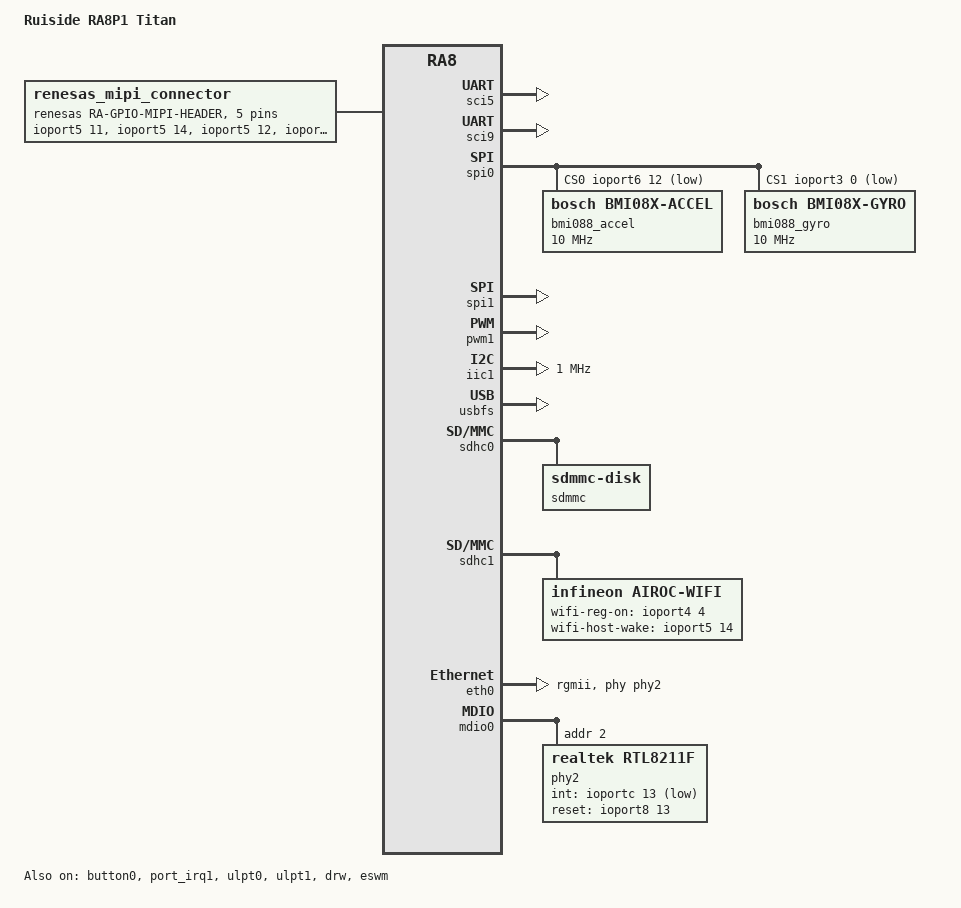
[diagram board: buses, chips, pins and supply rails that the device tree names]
/*
 * SPDX-FileCopyrightText: Copyright The Zephyr Project Contributors
 * SPDX-License-Identifier: Apache-2.0
 */

/dts-v1/;

#include <renesas/ra/ra8/r7ka8p1kflcac_cm85.dtsi>
#include <zephyr/dt-bindings/pwm/pwm.h>
#include "ra8p1_titan.dtsi"

/ {
	model = "Ruiside RA8P1 Titan";
	compatible = "ruiside,ra8p1-titan", "renesas,ra8p1", "renesas,ra8";

	chosen {
		zephyr,console = &uart5;
		zephyr,shell-uart = &uart5;
		zephyr,bt-hci = &bt_hci_uart;
		zephyr,sram = &sram0;
		zephyr,flash = &code_mram_cm85;
		zephyr,flash-controller = &mram_ctrl;
		zephyr,code-partition = &slot0_partition;
		zephyr,entropy = &trng;
	};

	aliases {
		led0 = &led1;
		sw0 = &button0;
		mipi-dsi = &mipi_dsi;
		sdhc0 = &sdhc0;
	};

	renesas_mipi_connector: mipi-connector {
		compatible = "renesas,ra-gpio-mipi-header";
		#gpio-cells = <2>;
		gpio-map-mask = <0xffffffff 0xffffffc0>;
		gpio-map-pass-thru = <0 0x3f>;
		gpio-map = <14 0 &ioport5 11 0>, /* IIC_SDA */
			   <15 0 &ioport5 14 0>, /* DISP_BLEN */
			   <16 0 &ioport5 12 0>, /* IIC_SCL */
			   <17 0 &ioport1 11 0>, /* DISP_INT */
			   <18 0 &ioport6 6 0>;  /* DISP_RST */
	};
};

&button0 {
	status = "okay";
};

&sci5 {
	pinctrl-0 = <&sci5_default>;
	pinctrl-names = "default";
	interrupts = <40 1>, <41 1>, <42 1>, <43 1>;
	interrupt-names = "rxi", "txi", "tei", "eri";
	status = "okay";

	uart5: uart {
		current-speed = <115200>;
		status = "okay";
	};
};

// &sci6 {
// 	pinctrl-0 = <&sci6_default>;
// 	pinctrl-names = "default";
// 	interrupts = <0 1>, <1 1>, <2 1>, <3 1>;
// 	interrupt-names = "rxi", "txi", "tei", "eri";
// 	status = "okay";

// 	uart6: uart {
// 		current-speed = <115200>;
// 		status = "okay";
// 	};
// };

&sci9 {
	pinctrl-0 = <&sci9_default>;
	pinctrl-names = "default";
	interrupts = <0 1>, <1 1>, <2 1>, <3 1>;
	interrupt-names = "rxi", "txi", "tei", "eri";
	status = "okay";

	uart9: uart {
		current-speed = <115200>;
		hw-flow-control;
		status = "okay";

		bt_hci_uart: bt_hci_uart {
		compatible = "zephyr,bt-hci-uart";
		status = "okay";

		murata-1dx {
			status = "okay";
			compatible = "infineon,bt-hci-uart";
			bt-reg-on-gpios = <&ioport6 0 GPIO_ACTIVE_HIGH>;
			bt-host-wake-gpios = <&ioport6 1 GPIO_ACTIVE_HIGH>;
			bt-dev-wake-gpios = <&ioport4 4 GPIO_ACTIVE_HIGH>;
			fw-download-speed = <115200>;
			hci-operation-speed = <115200>;
		};
	};
	};
};

&sci1 {
	pinctrl-0 = <&sci1_default>;
	pinctrl-names = "default";
	interrupts = <4 1>, <5 1>, <6 1>, <7 1>;
	interrupt-names = "rxi", "txi", "tei", "eri";

	i2c1: i2c {
		sda-output-delay = <300>;
		noise-filter-clock-select = <1>;
		bit-rate-modulation;
	};
};

&spi0 {
	pinctrl-0 = <&spi0_default>;
	pinctrl-names = "default";
	interrupts = <20 1>, <21 1>, <22 1>, <23 1>;
	interrupt-names = "rxi", "txi", "tei", "eri";
	cs-gpios = <&ioport6 12 GPIO_ACTIVE_LOW>,
		   <&ioport3 0 GPIO_ACTIVE_LOW>;
	status = "okay";

	bmi088_accel: bmi088-accel@0 {
		compatible = "bosch,bmi08x-accel";
		reg = <0>;
		spi-max-frequency = <10000000>;
		accel-hz = "100";
		accel-fs = <6>;
		status = "okay";
	};

	bmi088_gyro: bmi088-gyro@1 {
		compatible = "bosch,bmi08x-gyro";
		reg = <1>;
		spi-max-frequency = <10000000>;
		gyro-hz = "100_32";
		gyro-fs = <2000>;
		status = "okay";
	};
};

&spi1 {
	pinctrl-0 = <&spi1_default>;
	pinctrl-names = "default";
	interrupts = <8 1>, <9 1>, <10 1>, <11 1>;
	interrupt-names = "rxi", "txi", "tei", "eri";
	status = "okay";
};

&pwm1 {
	pinctrl-0 = <&pwm1_default>;
	interrupts = <12 1>, <13 1>;
	interrupt-names = "gtioca", "overflow";
	pinctrl-names = "default";
	status = "okay";
};

&iic1 {
	#address-cells = <1>;
	#size-cells = <0>;
	clock-frequency = <I2C_BITRATE_FAST_PLUS>;
	pinctrl-0 = <&iic1_default>;
	pinctrl-names = "default";
	interrupts = <14 1>, <15 1>, <16 1>, <17 1>;
	interrupt-names = "rxi", "txi", "tei", "eri";
	status = "okay";
};

&port_irq1 {
	interrupts = <18 12>;
	status = "okay";
};

// &port_irq13 {
// 	interrupts = <18 12>;
// 	status = "okay";
// };

&ulpt0 {
	interrupts = <19 1>;
	interrupt-names = "ulpti";
	status = "okay";

	timer {
		status = "okay";
	};
};

&ulpt1 {
	status = "okay";

	timer {
		status = "okay";
	};
};

// &pwm12 {
// 	pinctrl-0 = <&pwm12_default>;
// 	interrupts = <20 1>, <21 1>;
// 	interrupt-names = "gtioca", "overflow";
// 	pinctrl-names = "default";

// 	cam_clock: pwmclock {
// 		compatible = "pwm-clock";
// 		status = "disabled";
// 		#clock-cells = <1>;
// 		pwms = <&pwm12 0 PWM_KHZ(12000) PWM_POLARITY_NORMAL>;
// 	};
// };

// &ceu {
// 	pinctrl-0 = <&ceu_default>;
// 	pinctrl-names = "default";
// 	interrupts = <22 1>;
// 	interrupt-names = "ceui";
// 	clocks = <&pclka MSTPC 16>, <&cam_clock 0>;
// 	clock-names = "pclk", "cam-xclk";
// 	burst-transfer = <256>;
// };

&usbfs {
	interrupts = <32 12>, <33 12>;
	interrupt-names = "usbfs-i", "usbfs-r";
	status = "okay";

	zephyr_udc0: udc {
		status = "okay";
	};
};

&code_mram_cm85 {
	partitions {
		ranges;
		#address-cells = <1>;
		#size-cells = <1>;

		boot_partition: partition@0 {
			compatible = "zephyr,mapped-partition";
			label = "mcuboot";
			reg = <0x0 DT_SIZE_K(64)>;
		};

		slot0_partition: partition@10000 {
			compatible = "zephyr,mapped-partition";
			label = "image-0";
			reg = <0x10000 DT_SIZE_K(344)>;
		};

		slot1_partition: partition@66000 {
			compatible = "zephyr,mapped-partition";
			label = "image-1";
			reg = <0x66000 DT_SIZE_K(344)>;
		};

		storage_partition: partition@bc000 {
			compatible = "zephyr,mapped-partition";
			label = "storage";
			reg = <0xbc000 DT_SIZE_K(16)>;
		};
	};
};

// &mipi_dsi {
// 	interrupts = <24 12>, <25 12>, <26 12>, <27 12>, <28 12>, <29 12>;
// 	interrupt-names = "sq0", "sq1", "vm", "rcv", "ferr", "ppi";
// };

&lcdif {
	interrupts = <30 1>;
	interrupt-names = "line";
};

&drw {
	interrupt-names = "drw";
	interrupts = <31 12>;
	status = "okay";
};

zephyr_lcdif: &lcdif {};

zephyr_mipi_dsi: &mipi_dsi {};

renesas_mipi_i2c: &iic1 {};

&sdhc0 {	
	interrupt-names = "accs", "card", "dma-req";
	interrupts = <84 12>, <85 12>, <86 12>;
	pinctrl-0 = <&sdhc0_default>;
	pinctrl-names = "default";
	status = "okay";

	sdmmc {
		compatible = "zephyr,sdmmc-disk";
		disk-name = "SD";
		status = "okay";
	};
};

&sdhc1 {	
	interrupt-names = "accs", "card", "dma-req";
	interrupts = <81 12>, <82 12>, <83 12>;
	pinctrl-0 = <&sdhc1_default>;
	pinctrl-names = "default";
	status = "okay";

	airoc-wifi {
		status = "okay";
		compatible = "infineon,airoc-wifi";

		/* Wi-Fi control gpios */
		wifi-reg-on-gpios    = <&ioport4 4 GPIO_ACTIVE_HIGH >;
		wifi-host-wake-gpios = <&ioport5 14 GPIO_ACTIVE_HIGH>;
    };
};

arducam_ffc_40pin_i2c: &iic1 {};

arducam_ffc_40pin_dvp_interface: &ceu {};

// arducam_ffc_40pin_dvp_xclk: &cam_clock {};

&eswm {
	interrupts = <24 1>;
	interrupt-names = "gwdi";
	status = "okay";
};

&eth0 {
	phy-connection-type = "rgmii";
	local-mac-address = [74 90 50 01 02 03];
	phy-clock-type = "xtal";
	phy-handle = <&phy2>;
	pinctrl-0 = <&eth0_default>;
	pinctrl-names = "default";
	status = "okay";
};

&mdio0 {
	pinctrl-0 = <&mdio0_default>;
	pinctrl-names = "default";
	status = "okay";

	phy2: phy@2 {
		compatible = "realtek,rtl8211f";
		reg = <2>;
		int-gpios = <&ioportc 13 GPIO_ACTIVE_LOW>;
		reset-gpios = <&ioport8 13 GPIO_ACTIVE_HIGH>;
		realtek,rgmii-delay = "rxid";
		status = "okay";
	};
};

// &eth1 {
// 	phy-connection-type = "rgmii";
// 	local-mac-address = [74 90 50 01 02 04];
// 	phy-clock-type = "xtal";
// 	phy-handle = <&phy1>;
// 	pinctrl-0 = <&eth1_default>;
// 	pinctrl-names = "default";
// 	status = "okay";
// };

// &mdio1 {
// 	pinctrl-0 = <&mdio1_default>;
// 	pinctrl-names = "default";
// 	status = "okay";

// 	phy1: phy@1 {
// 		compatible = "realtek,rtl8211f";
// 		reg = <1>;
// 		reset-gpios = <&ioporta 10 GPIO_ACTIVE_HIGH>;
// 		status = "okay";
// 	};
// };
